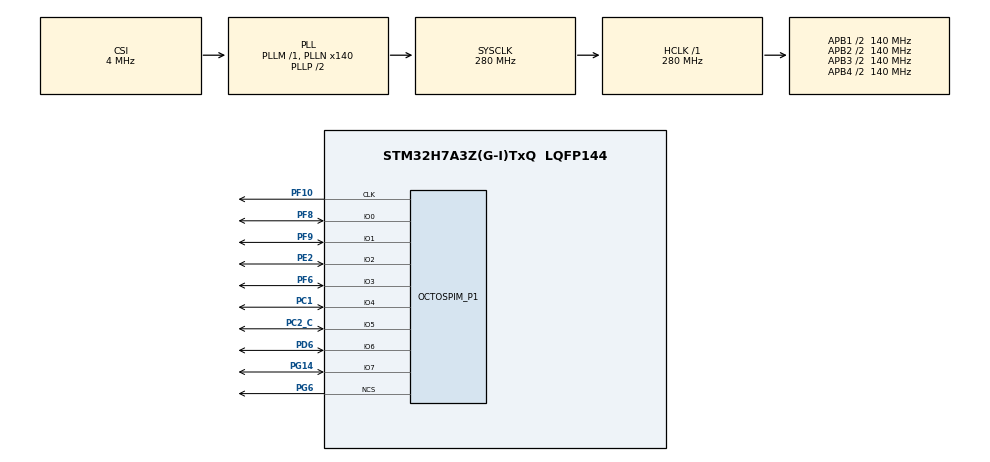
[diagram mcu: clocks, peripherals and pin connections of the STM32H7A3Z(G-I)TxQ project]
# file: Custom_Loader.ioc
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CORTEX_M7.CPU_DCache=Disabled
CORTEX_M7.CPU_ICache=Enabled
Mcu.Family=STM32H7
Mcu.Name=STM32H7A3Z(G-I)TxQ
Mcu.Package=LQFP144
NVIC.PriorityGroup=NVIC_PRIORITYGROUP_4
PA13.Mode=Serial_Wire
PA13.Signal=DEBUG_JTMS-SWDIO
PA14.Mode=Serial_Wire
PA14.Signal=DEBUG_JTCK-SWCLK
PC1.Mode=OCTOSPI1_IOH_Port1H
PC1.Signal=OCTOSPIM_P1_IO4
PC2_C.Mode=OCTOSPI1_IOH_Port1H
PC2_C.Signal=OCTOSPIM_P1_IO5
PD6.Mode=OCTOSPI1_IOH_Port1H
PD6.Signal=OCTOSPIM_P1_IO6
PE2.Mode=OCTOSPI1_IOL_Port1L
PE2.Signal=OCTOSPIM_P1_IO2
PF10.Mode=O1_P1_CLK
PF10.Signal=OCTOSPIM_P1_CLK
PF6.Mode=OCTOSPI1_IOL_Port1L
PF6.Signal=OCTOSPIM_P1_IO3
PF8.Mode=OCTOSPI1_IOL_Port1L
PF8.Signal=OCTOSPIM_P1_IO0
PF9.Mode=OCTOSPI1_IOL_Port1L
PF9.Signal=OCTOSPIM_P1_IO1
PG14.Mode=OCTOSPI1_IOH_Port1H
PG14.Signal=OCTOSPIM_P1_IO7
PG6.Mode=OCTOSPI1_Port1_NCS
PG6.Signal=OCTOSPIM_P1_NCS
ProjectManager.HeapSize=0x200
ProjectManager.StackSize=0x400
ProjectManager.TargetToolchain=STM32CubeIDE
RCC.ADCFreq_Value=2844444.4444444445
RCC.APB1Freq_Value=140000000
RCC.APB2Freq_Value=140000000
RCC.APB3Freq_Value=140000000
RCC.APB4Freq_Value=140000000
RCC.CDPPRE=RCC_APB3_DIV2
RCC.CDPPRE1=RCC_APB1_DIV2
RCC.CDPPRE2=RCC_APB2_DIV2
RCC.CortexFreq_Value=280000000
RCC.DIVM1=2
RCC.DIVM2=1
RCC.DIVM3=2
RCC.DIVN1=280
RCC.DIVN2=32
RCC.DIVN3=64
RCC.DIVP2=45
RCC.DIVP3=1
RCC.DIVQ1=56
RCC.DIVQ2=125
RCC.DIVQ3=8
RCC.DIVR2=6
RCC.DIVR3=16
RCC.HCLKFreq_Value=280000000
RCC.HSE_VALUE=12000000
RCC.PLL2_VCI_Range-AdvancedSettings=RCC_PLL2VCIRANGE_0
RCC.PLL2_VCO_SEL-AdvancedSettings=RCC_PLL2VCOMEDIUM
RCC.PLLSourceVirtual=RCC_PLLSOURCE_CSI
RCC.QSPICLockSelection=RCC_OSPICLKSOURCE_PLL2
RCC.RTCClockSelection=RCC_RTCCLKSOURCE_LSE
RCC.SRDPPRE=RCC_APB4_DIV2
RCC.SYSCLKFreq_VALUE=280000000
RCC.SYSCLKSource=RCC_SYSCLKSOURCE_PLLCLK
RCC.SupplySource=PWR_LDO_SUPPLY
RCC.USART16CLockSelection=RCC_USART16910CLKSOURCE_PLL2
RCC.USART234578CLockSelection=RCC_USART234578CLKSOURCE_PLL2
RCC.USBCLockSelection=RCC_USBCLKSOURCE_PLL3
RCC.USBFreq_Value=16000000
VP_OCTOSPI1_VS_octo.Mode=octo_mode
board=custom

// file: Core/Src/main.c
/* USER CODE BEGIN Header */
/**
  ******************************************************************************
  * @file           : main.c
  * @brief          : Main program body
  ******************************************************************************
  * @attention
  *
  * Copyright (c) 2023 STMicroelectronics.
  * All rights reserved.
  *
  * This software is licensed under terms that can be found in the LICENSE file
  * in the root directory of this software component.
  * If no LICENSE file comes with this software, it is provided AS-IS.
  *
  ******************************************************************************
  */
/* USER CODE END Header */
#include "main.h"
#include "octospi.h"
#include "gpio.h"

/* USER CODE BEGIN Includes */
#include <string.h> // for memcmp
#include <stdbool.h>
/* USER CODE END Includes */

/* USER CODE BEGIN PD */
//#define TEST
/* USER CODE END PD */

void SystemClock_Config(void);

/* USER CODE BEGIN 0 */
#ifdef TEST
static uint8_t bufferTest[MEMORY_DUAL_SECTOR_SIZE];
static uint8_t bufferTestRead[MEMORY_DUAL_SECTOR_SIZE];
#define NUMBER_OF_SECTORS_TO_TEST 4
#endif
/* USER CODE END 0 */

int main(void)
{
  /* USER CODE BEGIN 1 */
	HAL_StatusTypeDef res = HAL_OK;
#ifdef TEST
	volatile bool testFlash = false; // make high with debugger

  	uint32_t sectorIndex = 0;
  	uint32_t address;
  	uint32_t byteIndex;
#endif
  /* USER CODE END 1 */

  /* Enable I-Cache---------------------------------------------------------*/
  SCB_EnableICache();

  /* MCU Configuration--------------------------------------------------------*/

  /* Reset of all peripherals, Initializes the Flash interface and the Systick. */
  HAL_Init();

  /* Configure the system clock */
  SystemClock_Config();

  /* Initialize all configured peripherals */
  MX_GPIO_Init();
  MX_OCTOSPI1_Init();
  /* USER CODE BEGIN 2 */

  	res = CSP_QUADSPI_Init();

	if (res != HAL_OK)
	{
		while (1);  //breakpoint - error detected
	}
#ifdef TEST
  	while(!testFlash); // set to true with debugger to proceed to test

  	for (sectorIndex = 0; sectorIndex < MEMORY_DUAL_SECTOR_SIZE; sectorIndex++)
  	{
  		bufferTest[sectorIndex] = (sectorIndex+1) & 0xff;
  	}

  	for (sectorIndex = 0; sectorIndex < NUMBER_OF_SECTORS_TO_TEST; sectorIndex++)
  	{
  		res = CSP_QSPI_EraseSector(sectorIndex * MEMORY_DUAL_SECTOR_SIZE, (sectorIndex + 1) * MEMORY_DUAL_SECTOR_SIZE - 1);
  		if (res != HAL_OK)
		{
  			while (1);  //breakpoint - error detected
  		}

  		bufferTest[0] = sectorIndex+1;
  		res = CSP_QSPI_WriteMemory(bufferTest, sectorIndex * MEMORY_DUAL_SECTOR_SIZE, sizeof(bufferTest));
  		if (res != HAL_OK)
		{
  			while (1);  //breakpoint - error detected
  		}
  	}

  	address = 0;
	res = CSP_QSPI_ReadMemory(bufferTestRead, address, sizeof(bufferTestRead));
	if (res != HAL_OK)
	{
		while (1);  //breakpoint - error detected
	}

  	res = CSP_QSPI_EnableMemoryMappedMode();
	if (res != HAL_OK)
	{
		while (1);  //breakpoint - error detected
	}

  	for (sectorIndex = 0; sectorIndex < NUMBER_OF_SECTORS_TO_TEST; sectorIndex++)
  	{
  		bufferTest[0] = sectorIndex+1;
  		address = MEMORY_MAPPED_START_ADDRESS + sectorIndex * MEMORY_DUAL_SECTOR_SIZE;
  		if (memcmp(bufferTest,	(uint8_t*) (address), MEMORY_DUAL_SECTOR_SIZE) != 0)
  		{
  			for(byteIndex = 0; byteIndex < MEMORY_DUAL_SECTOR_SIZE; ++byteIndex)
  			{
  				if ( bufferTest[byteIndex] != ((uint8_t*)(address))[byteIndex])
				{
					break;
  				}
  			}
  			while (1);  //breakpoint - error detected - otherwise QSPI works properly
  		}
  	}
#endif
  /* USER CODE END 2 */

  /* Infinite loop */
  while (1)
  {

  }
}

void SystemClock_Config(void)
{
  RCC_OscInitTypeDef RCC_OscInitStruct = {0};
  RCC_ClkInitTypeDef RCC_ClkInitStruct = {0};

  /*AXI clock gating */
  RCC->CKGAENR = 0xFFFFFFFF;

  /** Supply configuration update enable
  */
  HAL_PWREx_ConfigSupply(PWR_LDO_SUPPLY);

  /** Configure the main internal regulator output voltage
  */
  __HAL_PWR_VOLTAGESCALING_CONFIG(PWR_REGULATOR_VOLTAGE_SCALE0);

  while(!__HAL_PWR_GET_FLAG(PWR_FLAG_VOSRDY)) {}

  /** Initializes the RCC Oscillators according to the specified parameters
  * in the RCC_OscInitTypeDef structure.
  */
  RCC_OscInitStruct.OscillatorType = RCC_OSCILLATORTYPE_CSI;
  RCC_OscInitStruct.CSIState = RCC_CSI_ON;
  RCC_OscInitStruct.CSICalibrationValue = 16;
  RCC_OscInitStruct.PLL.PLLState = RCC_PLL_ON;
  RCC_OscInitStruct.PLL.PLLSource = RCC_PLLSOURCE_CSI;
  RCC_OscInitStruct.PLL.PLLM = 1;
  RCC_OscInitStruct.PLL.PLLN = 140;
  RCC_OscInitStruct.PLL.PLLP = 2;
  RCC_OscInitStruct.PLL.PLLQ = 128;
  RCC_OscInitStruct.PLL.PLLR = 2;
  RCC_OscInitStruct.PLL.PLLRGE = RCC_PLL1VCIRANGE_2;
  RCC_OscInitStruct.PLL.PLLVCOSEL = RCC_PLL1VCOWIDE;
  RCC_OscInitStruct.PLL.PLLFRACN = 0;
  if (HAL_RCC_OscConfig(&RCC_OscInitStruct) != HAL_OK)
  {
    Error_Handler();
  }

  /** Initializes the CPU, AHB and APB buses clocks
  */
  RCC_ClkInitStruct.ClockType = RCC_CLOCKTYPE_HCLK|RCC_CLOCKTYPE_SYSCLK
                              |RCC_CLOCKTYPE_PCLK1|RCC_CLOCKTYPE_PCLK2
                              |RCC_CLOCKTYPE_D3PCLK1|RCC_CLOCKTYPE_D1PCLK1;
  RCC_ClkInitStruct.SYSCLKSource = RCC_SYSCLKSOURCE_PLLCLK;
  RCC_ClkInitStruct.SYSCLKDivider = RCC_SYSCLK_DIV1;
  RCC_ClkInitStruct.AHBCLKDivider = RCC_HCLK_DIV1;
  RCC_ClkInitStruct.APB3CLKDivider = RCC_APB3_DIV2;
  RCC_ClkInitStruct.APB1CLKDivider = RCC_APB1_DIV2;
  RCC_ClkInitStruct.APB2CLKDivider = RCC_APB2_DIV2;
  RCC_ClkInitStruct.APB4CLKDivider = RCC_APB4_DIV2;

  if (HAL_RCC_ClockConfig(&RCC_ClkInitStruct, FLASH_LATENCY_7) != HAL_OK)
  {
    Error_Handler();
  }
}

void Error_Handler(void)
{
  __disable_irq();
  while (1)
  {
  }
}
